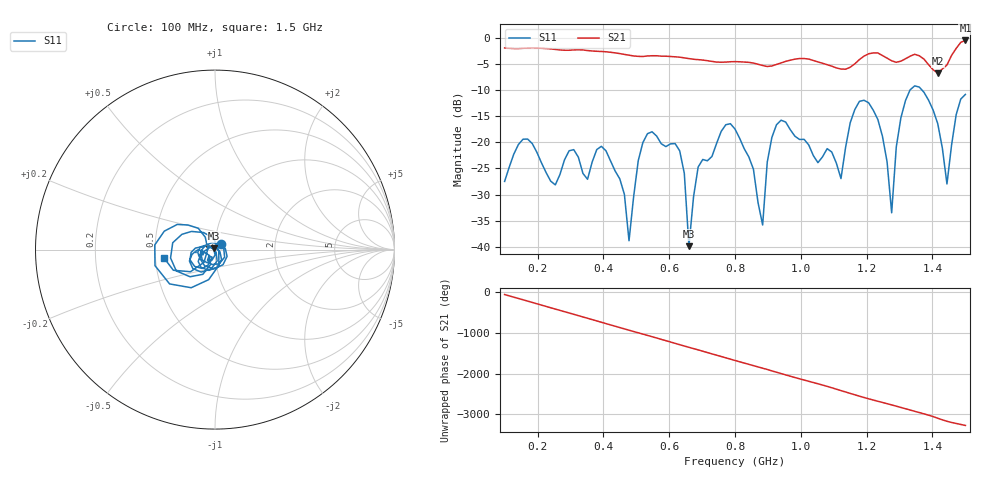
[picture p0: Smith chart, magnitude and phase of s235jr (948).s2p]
! NanoVNA-App
! Date: 2025-09-25 15:11:33
! Start: 100MHz Stop: 1,5GHz Points: 101
! S-Parameter data: F S11 S21 S12 S22
# Hz S RI R 50
!  Frequency  S11_Real  S11_Imag  S21_Real  S21_Imag  S12_Real  S12_Imag  S22_Real  S22_Imag
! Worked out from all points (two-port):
!   101 points, 100 MHz to 1.5 GHz, reference 50 ohm
!   highest |S21| = -0.55 dB at 1.5 GHz (marker M1); lowest = -6.8 dB at 1.416 GHz (marker M2)
!   |S21| within 3 dB of the highest: start of sweep to 499.1 MHz; 1.192 GHz to 1.251 GHz (59.43 MHz wide, 4.87 % of centre) (the widest 2 of 5)
!   lowest |S11| = -39.8 dB at 660 MHz (marker M3), VSWR 1.02, Z = 49.2 + j0.627 ohm
!   |S11| at or under -10 dB: start of sweep to 1.332 GHz; 1.368 GHz to end of sweep
!   S12 and S22 are empty: the file has one direction only
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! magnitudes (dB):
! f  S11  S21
! 100 MHz  -27.5  -2.0
! 156 MHz  -19.4  -2.0
! 338 MHz  -25.9  -2.4
! 408 MHz  -21.6  -2.7
! 478 MHz  -38.8  -3.4
! 520 MHz  -20.1  -3.6
! 576 MHz  -20.3  -3.5
! 632 MHz  -21.6  -3.7
! 660 MHz  -39.8  -4.0
! 688 MHz  -24.7  -4.2
! 800 MHz  -17.5  -4.6
! 884 MHz  -35.8  -5.3
! 926 MHz  -16.7  -5.1
! 1.038 GHz  -22.5  -4.4
! 1.122 GHz  -26.9  -6.0
! 1.206 GHz  -12.4  -3.1
! 1.276 GHz  -33.5  -4.4
! 1.29 GHz  -20.9  -4.7
! 1.332 GHz  -10.0  -3.6
! 1.416 GHz  -16.4  -6.8
! 1.444 GHz  -28.0  -5.2
! 1.5 GHz  -10.9  -0.5
